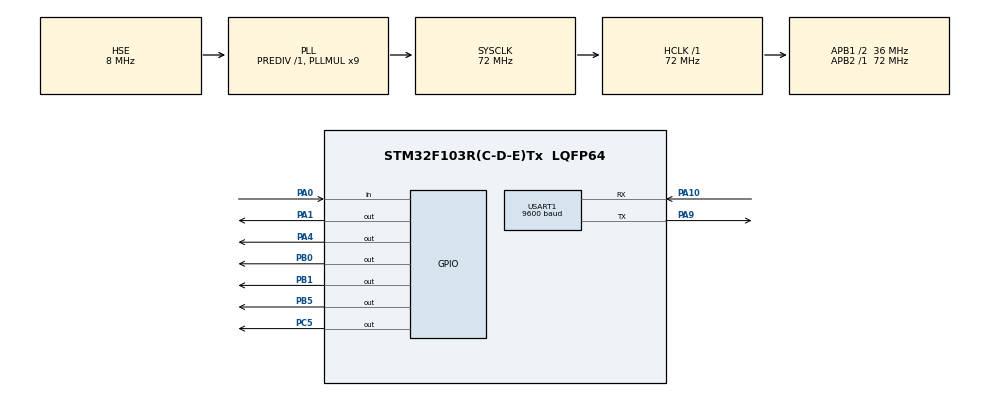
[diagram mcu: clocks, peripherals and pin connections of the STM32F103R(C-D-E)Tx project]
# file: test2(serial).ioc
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Mcu.Family=STM32F1
Mcu.Name=STM32F103R(C-D-E)Tx
Mcu.Package=LQFP64
NVIC.PriorityGroup=NVIC_PRIORITYGROUP_4
NVIC.USART1_IRQn=true\:0\:0\:false\:true\:true\:1\:true\:true\:true
PA0-WKUP.Signal=GPIO_Input
PA1.Signal=GPIO_Output
PA10.Mode=Asynchronous
PA10.Signal=USART1_RX
PA13.Mode=Serial_Wire
PA13.Signal=SYS_JTMS-SWDIO
PA14.Mode=Serial_Wire
PA14.Signal=SYS_JTCK-SWCLK
PA4.Signal=GPIO_Output
PA9.Mode=Asynchronous
PA9.Signal=USART1_TX
PB0.Signal=GPIO_Output
PB1.Signal=GPIO_Output
PB5.Signal=GPIO_Output
PC5.Signal=GPIO_Output
PD0-OSC_IN.Mode=HSE-External-Oscillator
PD0-OSC_IN.Signal=RCC_OSC_IN
PD1-OSC_OUT.Mode=HSE-External-Oscillator
PD1-OSC_OUT.Signal=RCC_OSC_OUT
ProjectManager.HeapSize=0x200
ProjectManager.StackSize=0x400
ProjectManager.TargetToolchain=EWARM V7
RCC.AHBFreq_Value=72000000
RCC.APB1CLKDivider=RCC_HCLK_DIV2
RCC.APB1Freq_Value=36000000
RCC.APB1TimFreq_Value=72000000
RCC.APB2Freq_Value=72000000
RCC.APB2TimFreq_Value=72000000
RCC.HCLKFreq_Value=72000000
RCC.PLLMUL=RCC_PLL_MUL9
RCC.PLLSourceVirtual=RCC_PLLSOURCE_HSE
RCC.SYSCLKFreq_VALUE=72000000
RCC.SYSCLKSource=RCC_SYSCLKSOURCE_PLLCLK
RCC.USBFreq_Value=72000000
USART1.BaudRate=9600
USART1.VirtualMode=VM_ASYNC
board=custom

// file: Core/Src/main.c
/* USER CODE BEGIN Header */
/**
  ******************************************************************************
  * @file           : main.c
  * @brief          : Main program body
  ******************************************************************************
  * @attention
  *
  * Copyright (c) 2025 STMicroelectronics.
  * All rights reserved.
  *
  * This software is licensed under terms that can be found in the LICENSE file
  * in the root directory of this software component.
  * If no LICENSE file comes with this software, it is provided AS-IS.
  *
  ******************************************************************************
  */
/* USER CODE END Header */
#include "main.h"
#include "stm32f1xx_hal.h"
#include "string.h"

/* USER CODE BEGIN PD */

#define RX_BUFFER_SIZE 30

/* USER CODE END PD */

UART_HandleTypeDef huart1;

uint8_t rx_Data[20]; // 버퍼의 인덱스

uint8_t txData[]="SUCCES";

void SystemClock_Config(void);
static void MX_GPIO_Init(void);
static void MX_USART1_UART_Init(void);
static void MX_NVIC_Init(void);

int main(void)
{

  /* MCU Configuration--------------------------------------------------------*/

  /* Reset of all peripherals, Initializes the Flash interface and the Systick. */
  HAL_Init();

  /* Configure the system clock */
  SystemClock_Config();

  /* Initialize all configured peripherals */
  MX_GPIO_Init();
  MX_USART1_UART_Init();

  /* Initialize interrupts */
  MX_NVIC_Init(); // 인터럽트 관련된 초기화 함수
  /* USER CODE BEGIN 2 */
  if(HAL_GPIO_ReadPin(GPIOA,GPIO_PIN_0)==GPIO_PIN_RESET){

    HAL_GPIO_WritePin(GPIOA,GPIO_PIN_1,GPIO_PIN_SET);
    HAL_GPIO_WritePin(GPIOB,GPIO_PIN_5,GPIO_PIN_SET);

    HAL_UART_Transmit(&huart1,"성공\r\n",sizeof("성공\r\n"),1000);

    //존재하지 않으면 인터럽트가 진행되지 않는다.

  HAL_UART_Receive_IT(&huart1, rx_Data, 10); // rx_Data에 1byte 채워지면 인터럽트 호출을 실행

  }

  /* USER CODE END 2 */

  /* Infinite loop */
  while (1)
  {

  }
}

void SystemClock_Config(void)
{
  RCC_OscInitTypeDef RCC_OscInitStruct = {0};
  RCC_ClkInitTypeDef RCC_ClkInitStruct = {0};

  /** Initializes the RCC Oscillators according to the specified parameters
  * in the RCC_OscInitTypeDef structure.
  */
  RCC_OscInitStruct.OscillatorType = RCC_OSCILLATORTYPE_HSE;
  RCC_OscInitStruct.HSEState = RCC_HSE_ON;
  RCC_OscInitStruct.HSEPredivValue = RCC_HSE_PREDIV_DIV1;
  RCC_OscInitStruct.HSIState = RCC_HSI_ON;
  RCC_OscInitStruct.PLL.PLLState = RCC_PLL_ON;
  RCC_OscInitStruct.PLL.PLLSource = RCC_PLLSOURCE_HSE;
  RCC_OscInitStruct.PLL.PLLMUL = RCC_PLL_MUL9;
  if (HAL_RCC_OscConfig(&RCC_OscInitStruct) != HAL_OK)
  {
    Error_Handler();
  }

  /** Initializes the CPU, AHB and APB buses clocks
  */
  RCC_ClkInitStruct.ClockType = RCC_CLOCKTYPE_HCLK|RCC_CLOCKTYPE_SYSCLK
                              |RCC_CLOCKTYPE_PCLK1|RCC_CLOCKTYPE_PCLK2;
  RCC_ClkInitStruct.SYSCLKSource = RCC_SYSCLKSOURCE_PLLCLK;
  RCC_ClkInitStruct.AHBCLKDivider = RCC_SYSCLK_DIV1;
  RCC_ClkInitStruct.APB1CLKDivider = RCC_HCLK_DIV2;
  RCC_ClkInitStruct.APB2CLKDivider = RCC_HCLK_DIV1;

  if (HAL_RCC_ClockConfig(&RCC_ClkInitStruct, FLASH_LATENCY_2) != HAL_OK)
  {
    Error_Handler();
  }
}

/**
  * @brief NVIC Configuration.
  * @retval None
  */
static void MX_NVIC_Init(void)
{
  /* USART1_IRQn interrupt configuration */
  HAL_NVIC_SetPriority(USART1_IRQn, 0, 0);
  HAL_NVIC_EnableIRQ(USART1_IRQn);
}

static void MX_USART1_UART_Init(void)
{

  huart1.Instance = USART1;
  huart1.Init.BaudRate = 9600;
  huart1.Init.WordLength = UART_WORDLENGTH_8B;
  huart1.Init.StopBits = UART_STOPBITS_1;
  huart1.Init.Parity = UART_PARITY_NONE;
  huart1.Init.Mode = UART_MODE_TX_RX;
  huart1.Init.HwFlowCtl = UART_HWCONTROL_NONE;
  huart1.Init.OverSampling = UART_OVERSAMPLING_16;
  if (HAL_UART_Init(&huart1) != HAL_OK)
  {
    Error_Handler();
  }

}

static void MX_GPIO_Init(void)
{
  GPIO_InitTypeDef GPIO_InitStruct = {0};

  /* GPIO Ports Clock Enable */
  __HAL_RCC_GPIOD_CLK_ENABLE();
  __HAL_RCC_GPIOA_CLK_ENABLE();
  __HAL_RCC_GPIOC_CLK_ENABLE();
  __HAL_RCC_GPIOB_CLK_ENABLE();

  /*Configure GPIO pin Output Level */
  HAL_GPIO_WritePin(GPIOA, GPIO_PIN_1|GPIO_PIN_4, GPIO_PIN_RESET);

  /*Configure GPIO pin Output Level */
  HAL_GPIO_WritePin(GPIOC, GPIO_PIN_5, GPIO_PIN_RESET);

  /*Configure GPIO pin Output Level */
  HAL_GPIO_WritePin(GPIOB, GPIO_PIN_0|GPIO_PIN_1|GPIO_PIN_5, GPIO_PIN_RESET);

  /*Configure GPIO pin : PA0 */
  GPIO_InitStruct.Pin = GPIO_PIN_0;
  GPIO_InitStruct.Mode = GPIO_MODE_INPUT;
  GPIO_InitStruct.Pull = GPIO_NOPULL;
  HAL_GPIO_Init(GPIOA, &GPIO_InitStruct);

  /*Configure GPIO pins : PA1 PA4 */
  GPIO_InitStruct.Pin = GPIO_PIN_1|GPIO_PIN_4;
  GPIO_InitStruct.Mode = GPIO_MODE_OUTPUT_PP;
  GPIO_InitStruct.Pull = GPIO_NOPULL;
  GPIO_InitStruct.Speed = GPIO_SPEED_FREQ_LOW;
  HAL_GPIO_Init(GPIOA, &GPIO_InitStruct);

  /*Configure GPIO pin : PC5 */
  GPIO_InitStruct.Pin = GPIO_PIN_5;
  GPIO_InitStruct.Mode = GPIO_MODE_OUTPUT_PP;
  GPIO_InitStruct.Pull = GPIO_NOPULL;
  GPIO_InitStruct.Speed = GPIO_SPEED_FREQ_LOW;
  HAL_GPIO_Init(GPIOC, &GPIO_InitStruct);

  /*Configure GPIO pins : PB0 PB1 PB5 */
  GPIO_InitStruct.Pin = GPIO_PIN_0|GPIO_PIN_1|GPIO_PIN_5;
  GPIO_InitStruct.Mode = GPIO_MODE_OUTPUT_PP;
  GPIO_InitStruct.Pull = GPIO_NOPULL;
  GPIO_InitStruct.Speed = GPIO_SPEED_FREQ_LOW;
  HAL_GPIO_Init(GPIOB, &GPIO_InitStruct);

}

/* USER CODE BEGIN 4 */

/*
 HAL_UART_RxCpltCallback 함수는 10byte에 한번 호츌 되지만
USART1_IRQHandler(void) 함수 같은 경우 1byte당 인트럽트되서 10번 호출이된다.
*/

void HAL_UART_RxCpltCallback(UART_HandleTypeDef *huart)
{
    GPIO_TypeDef* port;
    uint16_t pin;

    char buffer[3][RX_BUFFER_SIZE];  // 3개의 문자열을 저장할 버퍼
    char *token;

    if (huart->Instance == USART1) {

        // 수신 완료 후 데이터 처리
        rx_Data[19] = '\0';  // 20번째 바이트에 NULL 추가 (19번 인덱스에 종료 문자 추가)

        // '/' 기준으로 문자열 자르기
        token = strtok(rx_Data, "/");

        int i = 0;
        while (token != NULL && i < 3) {
            // token을 buffer[i]에 복사
            strncpy(buffer[i], token, RX_BUFFER_SIZE - 1);  // 안전하게 복사 (끝에 NULL 추가)
            buffer[i][RX_BUFFER_SIZE - 1] = '\0';  // 마지막에 NULL 문자 보장
            i++;

            token = strtok(NULL, "/");
        }

        // GPIO 포트를 선택
        if (strcmp(buffer[0], "GPIOB") == 0) {
            port = GPIOB;
        } else if (strcmp(buffer[0], "GPIOC") == 0) {
            port = GPIOC;
        } else {
            // 기본값 설정 (에러 처리)
            return;
        }

        // GPIO 핀 번호 설정
        pin = atoi(buffer[1]);  // 문자열을 정수로 변환 (e.g., "0" -> 0, "1" -> 1)

        // 핀 상태 설정
        if (strcmp(buffer[2], "ON") == 0) {
            HAL_GPIO_WritePin(port, (1 << pin), GPIO_PIN_SET);
        } else {
            HAL_GPIO_WritePin(port, (1 << pin), GPIO_PIN_RESET);
        }

        // 수신 후 초기화
        memset(rx_Data, 0, sizeof(rx_Data));  // rx_Data 초기화
        memset(buffer, 0, sizeof(buffer));  // buffer 초기화

        // 새로운 데이터 수신을 위한 설정 (10바이트 수신)
        HAL_UART_Receive_IT(&huart1, rx_Data, 10); // rx_Data에 1byte 채워지면 인터럽트 호출을 실행  // 10바이트를 다시 수신 준비
    }
}

/* USER CODE END 4 */

void Error_Handler(void)
{
  __disable_irq();
  while (1)
  {
  }
}
